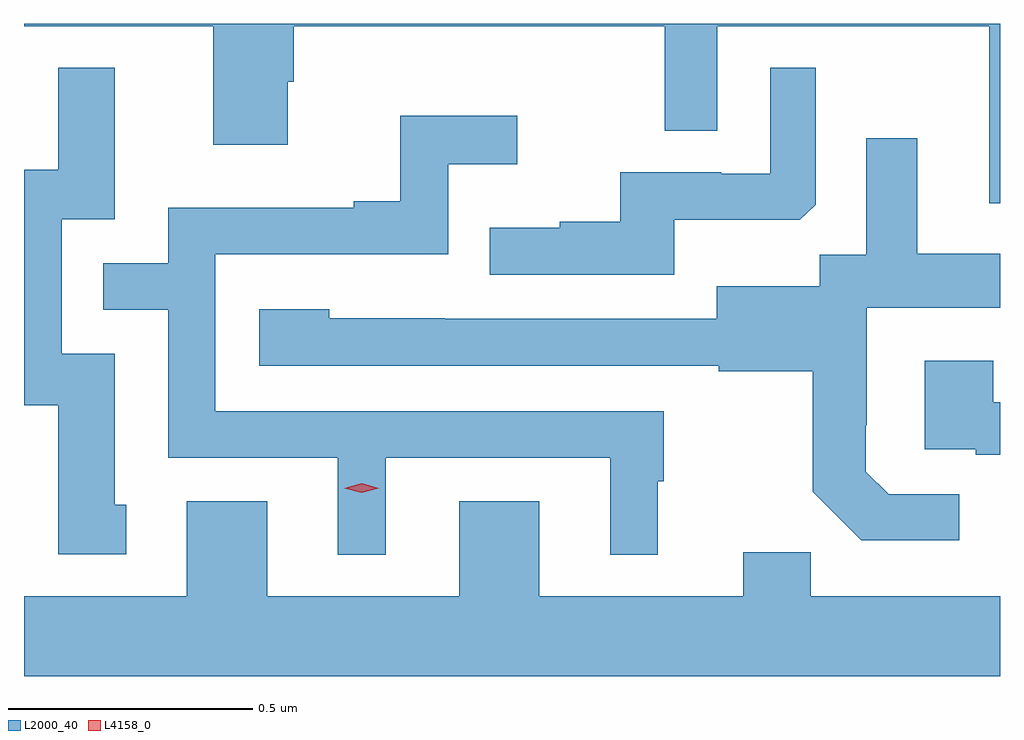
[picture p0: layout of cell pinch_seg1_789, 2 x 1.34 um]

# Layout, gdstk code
import gdstk
lib = gdstk.Library(unit=1e-6, precision=1e-09)
def P(c, l, *ps):  # polygons
    for p in ps: c.add(gdstk.Polygon(p, *l))
L2000_40 = (2000, 40)
L4158_0 = (4158, 0)

pinch_seg1_789 = lib.new_cell('pinch_seg1_789')
P(pinch_seg1_789, L2000_40, [(593.709,577.046),(591.709,577.046),(591.709,577.04),(592.097,577.04),(592.097,576.798),(592.249,576.798),(592.249,576.927),(592.262,576.927),(592.262,577.04),(593.022,577.04),(593.022,576.826),(593.13,576.826),(593.13,577.04),(593.687,577.04),(593.687,576.678),(593.709,576.678)],
  [(591.919,576.06),(591.895,576.06),(591.895,576.369),(591.786,576.369),(591.786,576.645),(591.895,576.645),(591.895,576.955),(591.779,576.955),(591.779,576.746),(591.709,576.746),(591.709,576.264),(591.779,576.264),(591.779,575.958),(591.919,575.958)],
  [(593.041,576.644),(593.299,576.644),(593.331,576.675),(593.331,576.955),(593.238,576.955),(593.238,576.738),(593.138,576.738),(593.138,576.741),(592.931,576.741),(592.931,576.64),(592.807,576.64),(592.807,576.628),(592.663,576.628),(592.663,576.531),(593.041,576.531)],
  [(592.45,576.156),(592.91,576.156),(592.91,575.957),(593.008,575.957),(593.008,576.108),(593.02,576.108),(593.02,576.252),(592.101,576.252),(592.101,576.573),(592.578,576.573),(592.578,576.758),(592.72,576.758),(592.72,576.857),(592.48,576.857),(592.48,576.682),(592.385,576.682),(592.385,576.669),(592.005,576.669),(592.005,576.555),(591.871,576.555),(591.871,576.459),(592.005,576.459),(592.005,576.156),(592.352,576.156),(592.352,575.957),(592.45,575.957)],
  [(593.626,576.081),(593.481,576.081),(593.434,576.128),(593.434,576.223),(593.436,576.223),(593.436,576.464),(593.709,576.464),(593.709,576.574),(593.539,576.574),(593.539,576.811),(593.435,576.811),(593.435,576.572),(593.34,576.572),(593.34,576.508),(593.129,576.508),(593.129,576.441),(592.571,576.441),(592.571,576.442),(592.335,576.442),(592.335,576.46),(592.191,576.46),(592.191,576.345),(593.133,576.345),(593.133,576.333),(593.325,576.333),(593.325,576.087),(593.425,575.987),(593.626,575.987)],
  [(593.709,576.27),(593.695,576.27),(593.695,576.355),(593.555,576.355),(593.555,576.174),(593.659,576.174),(593.659,576.162),(593.709,576.162)],
  [(593.709,575.872),(593.321,575.872),(593.321,575.963),(593.183,575.963),(593.183,575.872),(592.765,575.872),(592.765,576.067),(592.601,576.067),(592.601,575.872),(592.207,575.872),(592.207,576.067),(592.043,576.067),(592.043,575.872),(591.709,575.872),(591.709,575.708),(593.709,575.708)])
P(pinch_seg1_789, L4158_0, [(592.401,576.084),(592.365,576.094),(592.365,576.094),(592.365,576.094),(592.401,576.104),(592.436,576.094),(592.437,576.094),(592.436,576.094)])

lib.write_gds('pinch_seg1_789.gds')
